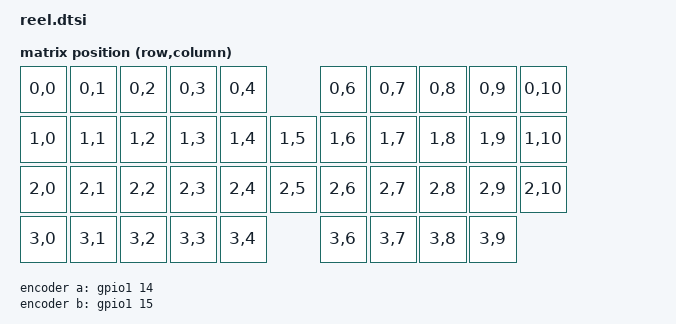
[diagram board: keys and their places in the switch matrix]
#include <dt-bindings/zmk/matrix_transform.h>

/ {
    chosen {
        zmk,kscan = &kscan;
        zmk,matrix-transform = &reel_transform;
    };

    reel_transform: matrix_transform {
        compatible = "zmk,matrix-transform";
        rows = <4>;
        columns = <11>;
        // Same matrix order as RMK main, omitting its three unpopulated positions.
        map = <
            RC(0,0) RC(0,1) RC(0,2) RC(0,3) RC(0,4)         RC(0,6) RC(0,7) RC(0,8) RC(0,9) RC(0,10)
            RC(1,0) RC(1,1) RC(1,2) RC(1,3) RC(1,4) RC(1,5) RC(1,6) RC(1,7) RC(1,8) RC(1,9) RC(1,10)
            RC(2,0) RC(2,1) RC(2,2) RC(2,3) RC(2,4) RC(2,5) RC(2,6) RC(2,7) RC(2,8) RC(2,9) RC(2,10)
            RC(3,0) RC(3,1) RC(3,2) RC(3,3) RC(3,4)         RC(3,6) RC(3,7) RC(3,8) RC(3,9)
        >;
    };

    encoder: encoder {
        compatible = "alps,ec11";
        a-gpios = <&gpio1 14 (GPIO_ACTIVE_HIGH | GPIO_PULL_UP)>;
        b-gpios = <&gpio1 15 (GPIO_ACTIVE_HIGH | GPIO_PULL_UP)>;
        steps = <36>; // BM4.0A01: 9 quadrature cycles, 18 clicks.
        status = "disabled";
    };

    sensors {
        compatible = "zmk,keymap-sensors";
        sensors = <&encoder>;
        triggers-per-rotation = <18>;
    };

    split_inputs {
        #address-cells = <1>;
        #size-cells = <0>;
        ball_split: input@0 {
            compatible = "zmk,input-split";
            reg = <0>;
            status = "disabled";
        };
    };
};
